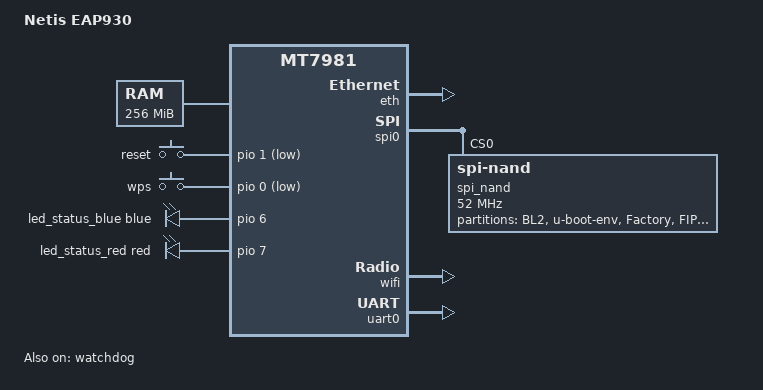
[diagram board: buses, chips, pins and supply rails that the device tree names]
// SPDX-License-Identifier: GPL-2.0-only OR MIT

/dts-v1/;

#include <dt-bindings/gpio/gpio.h>
#include <dt-bindings/input/input.h>
#include <dt-bindings/leds/common.h>

#include "mt7981.dtsi"

/ {
	model = "Netis EAP930";
	compatible = "netis,eap930", "mediatek,mt7981";

	aliases {
		serial0 = &uart0;
		label-mac-device = &gmac1;

		led-boot = &led_status_blue;
		led-running = &led_status_blue;
		led-failsafe = &led_status_red;
		led-upgrade = &led_status_red;
	};

	chosen {
		stdout-path = "serial0:115200n8";
	};

	memory@40000000 {
		reg = <0 0x40000000 0 0x10000000>;
	};

	gpio-keys {
		compatible = "gpio-keys";

		reset {
			label = "reset";
			linux,code = <KEY_RESTART>;
			gpios = <&pio 1 GPIO_ACTIVE_LOW>;
			debounce-interval = <60>;
		};

		wps {
			label = "wps";
			linux,code = <KEY_WPS_BUTTON>;
			gpios = <&pio 0 GPIO_ACTIVE_LOW>;
			debounce-interval = <60>;
		};
	};

	leds {
		compatible = "gpio-leds";

		led_status_blue: led-blue {
			color = <LED_COLOR_ID_BLUE>;
			function = LED_FUNCTION_STATUS;
			gpios = <&pio 6 GPIO_ACTIVE_HIGH>;
		};

		led_status_red: led-red {
			color = <LED_COLOR_ID_RED>;
			function = LED_FUNCTION_STATUS;
			gpios = <&pio 7 GPIO_ACTIVE_HIGH>;
		};
	};
};

/* =======================
 * Ethernet
 * ======================= */

&eth {
	status = "okay";

	gmac0: mac@0 {
		compatible = "mediatek,eth-mac";
		reg = <0>;
		status = "disabled";
	};

	gmac1: mac@1 {
		compatible = "mediatek,eth-mac";
		reg = <1>;
		phy-mode = "gmii";
		phy-handle = <&int_gbe_phy>;

		nvmem-cells = <&macaddr_factory_4 0>;
		nvmem-cell-names = "mac-address";
	};
};

/* =======================
 * SPI-NAND
 * ======================= */

&spi0 {
	status = "okay";

	spi_nand@0 {
		compatible = "spi-nand";
		reg = <0>;

		spi-max-frequency = <52000000>;
		spi-tx-bus-width = <4>;
		spi-rx-bus-width = <4>;

		partitions {
			compatible = "fixed-partitions";
			#address-cells = <1>;
			#size-cells = <1>;

			partition@0 {
				label = "BL2";
				reg = <0x0 0x100000>;
				read-only;
			};

			partition@100000 {
				label = "u-boot-env";
				reg = <0x100000 0x80000>;
			};

			partition@180000 {
				label = "Factory";
				reg = <0x180000 0x200000>;
				read-only;

				nvmem-layout {
					compatible = "fixed-layout";
					#address-cells = <1>;
					#size-cells = <1>;

					eeprom_factory_0: eeprom@0 {
						reg = <0x0 0x1000>;
					};

					macaddr_factory_4: macaddr@4 {
						compatible = "mac-base";
						reg = <0x4 0x6>;
						#nvmem-cell-cells = <1>;
					};
				};
			};

			partition@380000 {
				label = "FIP";
				reg = <0x380000 0x200000>;
				read-only;
			};

			partition@580000 {
				label = "ubi";
				reg = <0x580000 0x7280000>;
				compatible = "linux,ubi";
			};
		};
	};
};

/* =======================
 * Wi-Fi
 * ======================= */

&wifi {
	status = "okay";
	nvmem-cells = <&eeprom_factory_0>;
	nvmem-cell-names = "eeprom";
};

/* ======================= */

&uart0 {
	status = "okay";
};

&watchdog {
	status = "okay";
};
